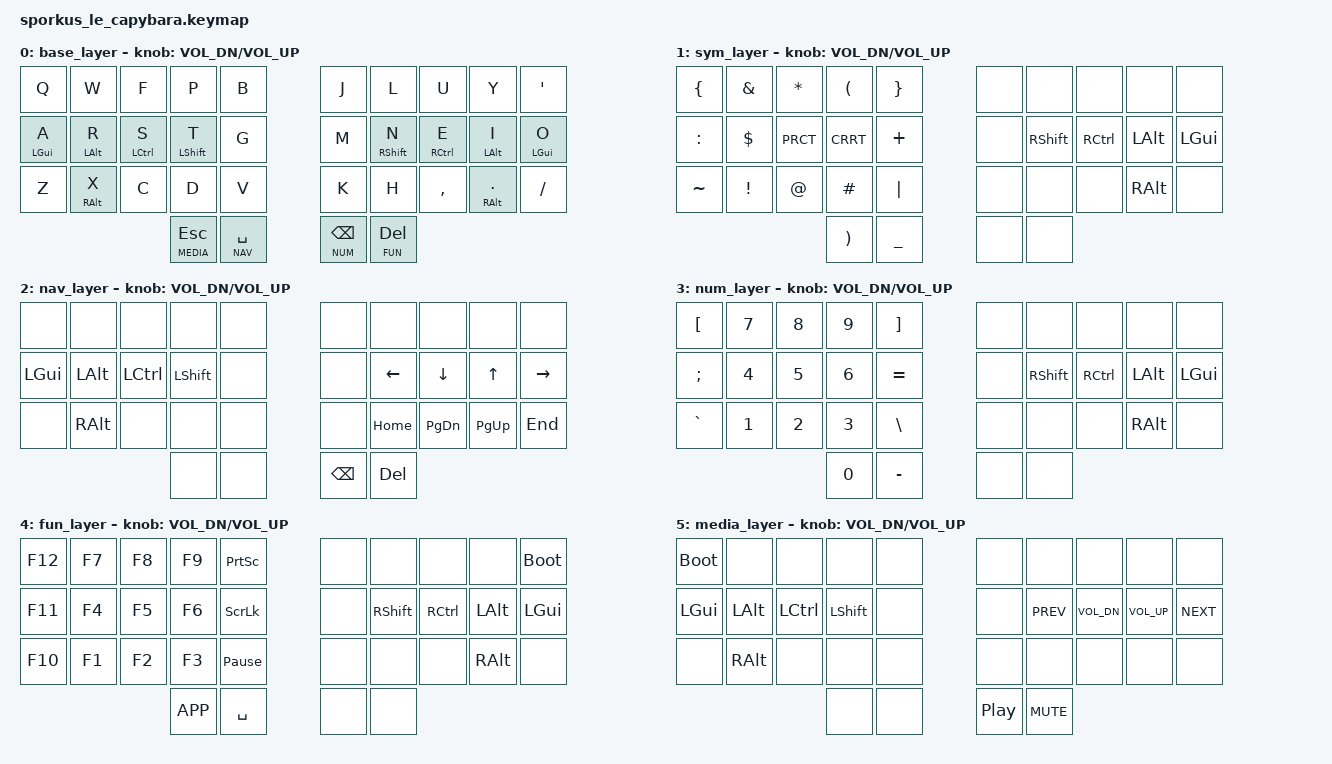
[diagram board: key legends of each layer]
/*
 * Copyright (c) 2020 The ZMK Contributors
 *
 * SPDX-License-Identifier: MIT
 */

#include <behaviors.dtsi>
#include <dt-bindings/zmk/keys.h>

#define BASE  0
#define SYM   1
#define NAV   2
#define NUM   3
#define FUN   4
#define MEDIA 5

&lt {
    quick_tap_ms = <200>;
};

&caps_word {
    continue-list = <UNDERSCORE MINUS>;
};

&sl {
    release-after-ms = <2000>;
};

/ {

    combos {
        
        compatible = "zmk,combos";

        combo_esc {
            timeout-ms = <50>;
            key-positions = <0 1>;
            bindings = <&lt MEDIA ESC>;
        };
        
        combo_tab {
            timeout-ms = <50>;
            key-positions = <2 3>;
            bindings = <&kp TAB>;
        };
        
        compo_return {
            timeout-ms = <50>;
            key-positions = <6 7>;
            bindings = <&lt SYM RET>;
        };
        
        combo_delete {
            timeout-ms = <50>;
            key-positions = <8 9>;
            bindings = <&lt FUN DEL>;
        };
        
        combo_sl_fun {
            timeout-ms = <50>;
            key-positions = <19 20>;
            bindings = <&sl FUN>;
        };
        
        combo_capsWord {
            timeout-ms = <50>;
            key-positions = <21 27>;
            bindings = <&caps_word>;
        };
        
        bootloader_combo {
            timeout-ms = <50>;
            key-positions = <4 5>;
            bindings = <&bootloader>;
	        layers = <MEDIA FUN>;
        };

    };

    behaviors {

        hm: home-row-mods {
            compatible = "zmk,behavior-hold-tap";
            #binding-cells = <2>;
            flavor = "tap-preferred";
            tapping-term-ms = <175>;
            quick-tap-ms = <125>;
            global-quick-tap;
            bindings = <&kp>, <&kp>;
        };

        hs: home-row-shift {
            compatible = "zmk,behavior-hold-tap";
            #binding-cells = <2>;
            flavor = "balanced";
            tapping-term-ms = <175>;
            // quick-tap-ms = <125>;
            // global-quick-tap;
            bindings = <&kp>, <&kp>;
        };

    };

    keymap {
        compatible = "zmk,keymap";
        
        base_layer {
            bindings = <
                &kp Q         &kp W         &kp F         &kp P         &kp B                       &kp J         &kp L         &kp U         &kp Y         &kp QUOT
                &hm LGUI A    &hm LALT R    &hm LCTRL S   &hs LSHFT T   &kp G                       &kp M         &hs RSHFT N   &hm RCTRL E   &hm LALT I    &hm LGUI O
                &kp Z         &hm RALT X    &kp C         &kp D         &kp V                       &kp K         &kp H         &kp COMMA     &hm RALT DOT  &kp SLASH
                                                          &lt MEDIA ESC &lt NAV SPACE               &lt NUM BSPC  &lt FUN DEL
            >;
            sensor-bindings = <&inc_dec_kp C_VOL_DN C_VOL_UP>;
        };

        sym_layer {
            bindings = <
                &kp LBRC      &kp AMPS      &kp ASTRK     &kp LPAR      &kp RBRC                    &none         &none         &none         &none         &none
                &kp COLON     &kp DLLR      &kp PRCT      &kp CRRT      &kp PLUS                    &none         &kp RSHFT     &kp RCTRL     &kp LALT      &kp LGUI
                &kp TILDE     &kp EXCL      &kp AT        &kp HASH      &kp PIPE                    &none         &none         &none         &kp RALT      &none
                                                          &kp RPAR      &kp UNDER                   &none         &none
             >;
             sensor-bindings = <&inc_dec_kp C_VOL_DN C_VOL_UP>;
        };

        nav_layer {
            bindings = <
                &none         &none         &none         &none         &none                       &none         &none         &none         &none         &none
                &kp LGUI      &kp LALT      &kp LCTRL     &kp LSHFT     &none                       &none         &kp LEFT      &kp DOWN      &kp UP        &kp RIGHT
                &none         &kp RALT      &none         &none         &none                       &none         &kp HOME      &kp PG_DN     &kp PG_UP     &kp END
                                                          &none         &none                       &kp BSPC      &kp DEL
            >;
            sensor-bindings = <&inc_dec_kp C_VOL_DN C_VOL_UP>;
        };

        num_layer {
            bindings = <
                &kp LBKT      &kp N7        &kp N8        &kp N9        &kp RBKT                    &none         &none         &none         &none         &none
                &kp SEMI      &kp N4        &kp N5        &kp N6        &kp EQUAL                   &none         &kp RSHFT     &kp RCTRL     &kp LALT      &kp LGUI
                &kp GRAVE     &kp N1        &kp N2        &kp N3        &kp BSLH                    &none         &none         &none         &kp RALT      &none
                                                          &kp N0        &kp MINUS                   &none         &none
            >;
            sensor-bindings = <&inc_dec_kp C_VOL_DN C_VOL_UP>;
        };

        fun_layer {
            bindings = <
                &kp F12       &kp F7        &kp F8        &kp F9        &kp PSCRN                   &none         &none         &none         &none         &bootloader
                &kp F11       &kp F4        &kp F5        &kp F6        &kp SLCK                    &none         &kp RSHFT     &kp RCTRL     &kp LALT      &kp LGUI
                &kp F10       &kp F1        &kp F2        &kp F3        &kp PAUSE_BREAK             &none         &none         &none         &kp RALT      &none
                                                          &kp K_APP     &kp SPACE                   &none         &none
            >;
            sensor-bindings = <&inc_dec_kp C_VOL_DN C_VOL_UP>;
        };

        media_layer {
            bindings = <
                &bootloader    &none        &none         &none         &none                       &none         &none         &none         &none         &none
                &kp LGUI       &kp LALT     &kp LCTRL     &kp LSHFT     &none                       &none         &kp C_PREV    &kp C_VOL_DN  &kp C_VOL_UP  &kp C_NEXT
                &none          &kp RALT     &none         &none         &none                       &none         &none         &none         &none         &none
                                                          &none         &none                       &kp C_PP      &kp C_MUTE
            >;
            sensor-bindings = <&inc_dec_kp C_VOL_DN C_VOL_UP>;
        };
    };

};
